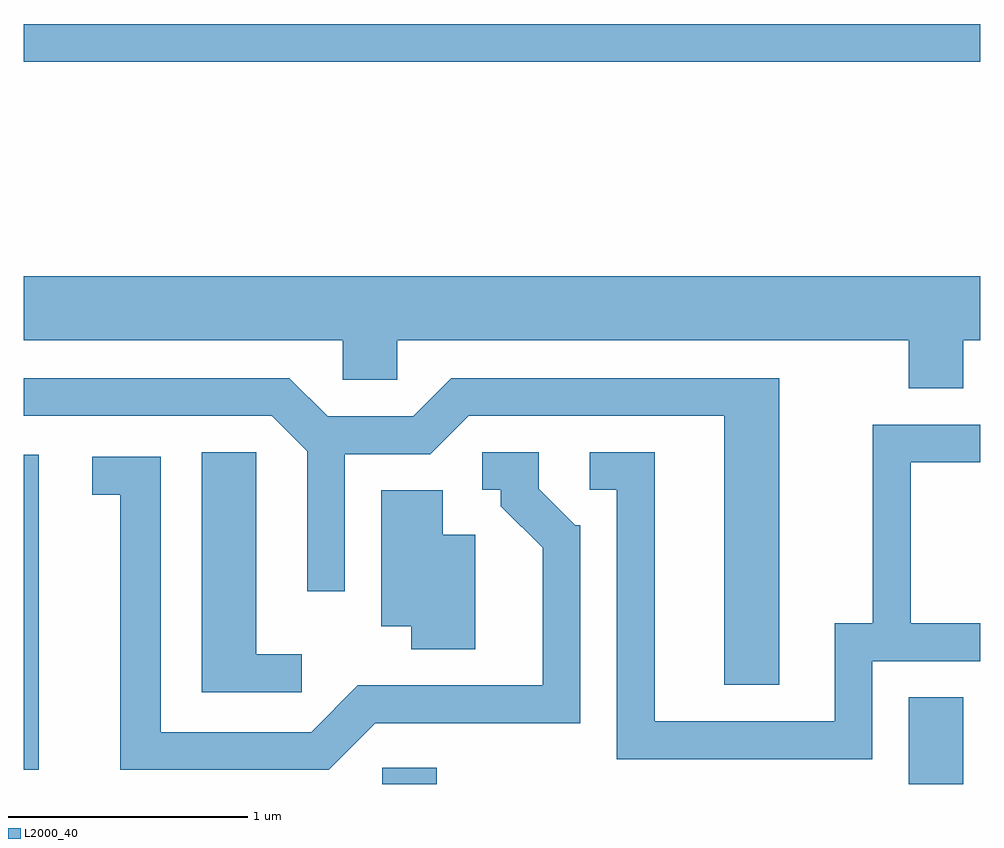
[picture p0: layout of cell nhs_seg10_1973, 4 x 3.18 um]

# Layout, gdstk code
import gdstk
lib = gdstk.Library(unit=1e-6, precision=1e-09)
def R(c, l, rs):  # rectangles x0, y0, x1, y1
    for r in rs: c.add(gdstk.rectangle(r[:2], r[2:], *l))
def P(c, l, *ps):  # polygons
    for p in ps: c.add(gdstk.Polygon(p, *l))
L2000_40 = (2000, 40)

nhs_seg10_1973 = lib.new_cell('nhs_seg10_1973')
R(nhs_seg10_1973, L2000_40, [(245.111,2096.522,245.339,2096.589), (247.311,2096.522,247.539,2096.884), (243.611,2096.581,243.674,2097.899), (243.611,2099.541,247.611,2099.699)])
P(nhs_seg10_1973, L2000_40, [(247.539,2098.376),(247.611,2098.376),(247.611,2098.644),(243.611,2098.644),(243.611,2098.376),(244.946,2098.376),(244.946,2098.211),(245.174,2098.211),(245.174,2098.376),(247.311,2098.376),(247.311,2098.176),(247.539,2098.176)],
  [(246.769,2098.219),(245.399,2098.219),(245.239,2098.059),(244.882,2098.059),(244.722,2098.219),(243.611,2098.219),(243.611,2098.061),(244.649,2098.061),(244.796,2097.914),(244.796,2097.328),(244.954,2097.328),(244.954,2097.901),(245.312,2097.901),(245.472,2098.061),(246.541,2098.061),(246.541,2096.936),(246.769,2096.936)],
  [(247.159,2097.036),(247.611,2097.036),(247.611,2097.194),(247.319,2097.194),(247.319,2097.866),(247.611,2097.866),(247.611,2098.024),(247.161,2098.024),(247.161,2097.194),(247.001,2097.194),(247.001,2096.784),(246.249,2096.784),(246.249,2097.909),(245.978,2097.909),(245.978,2097.751),(246.091,2097.751),(246.091,2096.626),(247.159,2096.626)],
  [(244.773,2097.064),(244.584,2097.064),(244.584,2097.909),(244.356,2097.909),(244.356,2096.906),(244.773,2096.906)],
  [(245.082,2096.776),(245.939,2096.776),(245.939,2097.604),(245.917,2097.604),(245.764,2097.757),(245.764,2097.909),(245.528,2097.909),(245.528,2097.751),(245.606,2097.751),(245.606,2097.684),(245.781,2097.509),(245.781,2096.934),(245.009,2096.934),(244.814,2096.739),(244.184,2096.739),(244.184,2097.889),(243.898,2097.889),(243.898,2097.731),(244.016,2097.731),(244.016,2096.581),(244.887,2096.581)],
  [(245.499,2097.564),(245.364,2097.564),(245.364,2097.749),(245.106,2097.749),(245.106,2097.181),(245.231,2097.181),(245.231,2097.086),(245.499,2097.086)])

lib.write_gds('nhs_seg10_1973.gds')
